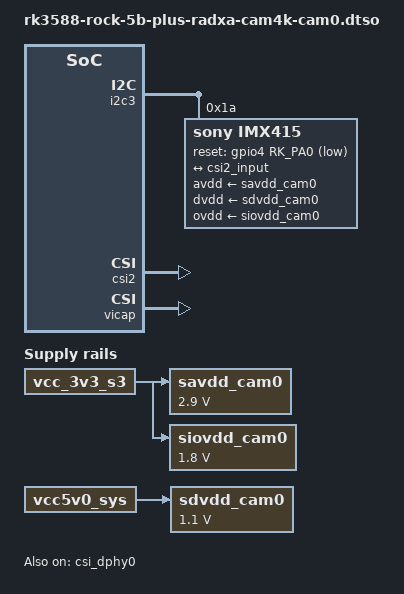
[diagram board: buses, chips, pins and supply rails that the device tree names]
// SPDX-License-Identifier: (GPL-2.0+ OR MIT)
/*
 * Device tree overlay for the Radxa Camera 4K attached to the CAM0 port of
 * the Radxa ROCK 5B+.
 */

/dts-v1/;
/plugin/;

#include <dt-bindings/clock/rockchip,rk3588-cru.h>
#include <dt-bindings/gpio/gpio.h>
#include <dt-bindings/pinctrl/rockchip.h>

&{/} {
	savdd_cam0: regulator-savdd-cam0 {
		compatible = "regulator-fixed";
		regulator-min-microvolt = <2900000>;
		regulator-max-microvolt = <2900000>;
		regulator-name = "savdd_cam0";
		vin-supply = <&vcc_3v3_s3>;
	};

	sdvdd_cam0: regulator-sdvdd-cam0 {
		compatible = "regulator-fixed";
		regulator-min-microvolt = <1100000>;
		regulator-max-microvolt = <1100000>;
		regulator-name = "sdvdd_cam0";
		vin-supply = <&vcc5v0_sys>;
	};

	siovdd_cam0: regulator-siovdd-cam0 {
		compatible = "regulator-fixed";
		regulator-min-microvolt = <1800000>;
		regulator-max-microvolt = <1800000>;
		regulator-name = "siovdd_cam0";
		vin-supply = <&vcc_3v3_s3>;
	};
};

&i2c3 {
	#address-cells = <1>;
	#size-cells = <0>;
	status = "okay";

	imx415: camera-sensor@1a {
		compatible = "sony,imx415";
		reg = <0x1a>;
		assigned-clocks = <&cru CLK_MIPI_CAMARAOUT_M3>;
		assigned-clock-rates = <37125000>;
		avdd-supply = <&savdd_cam0>;
		clocks = <&cru CLK_MIPI_CAMARAOUT_M3>;
		dvdd-supply = <&sdvdd_cam0>;
		orientation = <2>; /* External */
		ovdd-supply = <&siovdd_cam0>;
		pinctrl-names = "default";
		pinctrl-0 = <&cam0_rstn &mipim0_camera3_clk>;
		reset-gpios = <&gpio4 RK_PA0 GPIO_ACTIVE_LOW>;

		port {
			imx415_output: endpoint {
				data-lanes = <1 2 3 4>;
				link-frequencies = /bits/ 64 <445500000>;
				remote-endpoint = <&csi2_input>;
			};
		};
	};
};

&pinctrl {
	cam0 {
		cam0_rstn: cam0-rstn-pinctrl {
			rockchip,pins = <4 RK_PA0 RK_FUNC_GPIO &pcfg_pull_none>;
		};
	};
};

&csi2 {
	status = "okay";
};

&csi2_in {
	csi2_input: endpoint {
		data-lanes = <1 2 3 4>;
		link-frequencies = /bits/ 64 <445500000>;
		remote-endpoint = <&imx415_output>;
	};
};

&csi_dphy0 {
	status = "okay";
};

&vicap {
	status = "okay";
};

&vicap_mmu {
	status = "okay";
};
